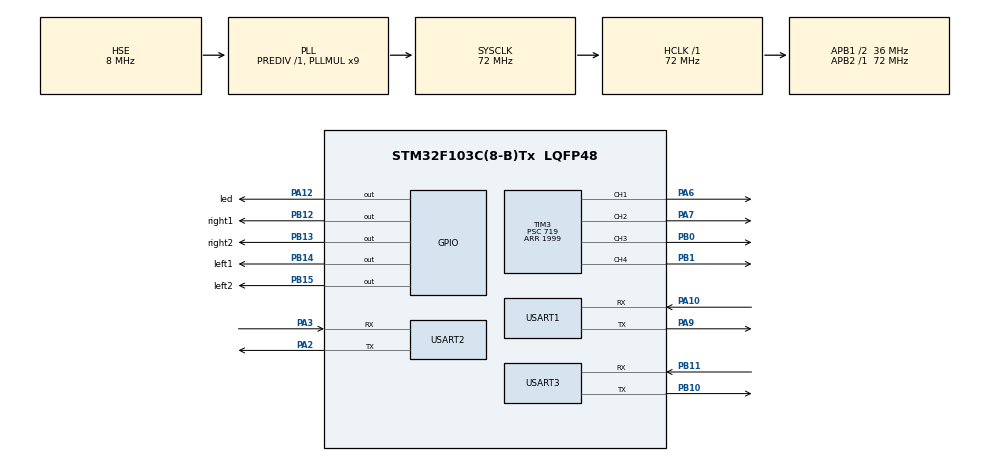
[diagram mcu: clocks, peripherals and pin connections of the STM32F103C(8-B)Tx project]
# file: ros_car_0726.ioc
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Dma.Request0=USART2_RX
Dma.Request1=USART1_RX
Dma.USART1_RX.1.Direction=DMA_PERIPH_TO_MEMORY
Dma.USART1_RX.1.Instance=DMA1_Channel5
Dma.USART1_RX.1.MemDataAlignment=DMA_MDATAALIGN_BYTE
Dma.USART1_RX.1.MemInc=DMA_MINC_ENABLE
Dma.USART1_RX.1.Mode=DMA_NORMAL
Dma.USART1_RX.1.PeriphDataAlignment=DMA_PDATAALIGN_BYTE
Dma.USART1_RX.1.PeriphInc=DMA_PINC_DISABLE
Dma.USART1_RX.1.Priority=DMA_PRIORITY_LOW
Dma.USART2_RX.0.Direction=DMA_PERIPH_TO_MEMORY
Dma.USART2_RX.0.Instance=DMA1_Channel6
Dma.USART2_RX.0.MemDataAlignment=DMA_MDATAALIGN_BYTE
Dma.USART2_RX.0.MemInc=DMA_MINC_ENABLE
Dma.USART2_RX.0.Mode=DMA_NORMAL
Dma.USART2_RX.0.PeriphDataAlignment=DMA_PDATAALIGN_BYTE
Dma.USART2_RX.0.PeriphInc=DMA_PINC_DISABLE
Dma.USART2_RX.0.Priority=DMA_PRIORITY_LOW
Mcu.Family=STM32F1
Mcu.Name=STM32F103C(8-B)Tx
Mcu.Package=LQFP48
NVIC.DMA1_Channel5_IRQn=true\:0\:0\:false\:true\:true\:5\:false
NVIC.DMA1_Channel6_IRQn=true\:0\:0\:false\:true\:true\:4\:false
NVIC.PriorityGroup=NVIC_PRIORITYGROUP_4
NVIC.TIM1_UP_IRQn=true\:0\:0\:false\:false\:true\:true
NVIC.TIM2_IRQn=true\:0\:0\:false\:false\:true\:true
NVIC.USART1_IRQn=true\:0\:0\:false\:true\:true\:1\:true
NVIC.USART2_IRQn=true\:0\:0\:false\:true\:true\:2\:true
NVIC.USART3_IRQn=true\:0\:0\:false\:true\:true\:3\:true
PA10.Mode=Asynchronous
PA10.Signal=USART1_RX
PA12.GPIO_Label=led
PA12.Signal=GPIO_Output
PA13.Mode=Serial_Wire
PA13.Signal=SYS_JTMS-SWDIO
PA14.Mode=Serial_Wire
PA14.Signal=SYS_JTCK-SWCLK
PA2.Mode=Asynchronous
PA2.Signal=USART2_TX
PA3.Mode=Asynchronous
PA3.Signal=USART2_RX
PA6.Signal=S_TIM3_CH1
PA7.Signal=S_TIM3_CH2
PA9.Mode=Asynchronous
PA9.Signal=USART1_TX
PB0.Signal=S_TIM3_CH3
PB1.Signal=S_TIM3_CH4
PB10.Mode=Asynchronous
PB10.Signal=USART3_TX
PB11.Mode=Asynchronous
PB11.Signal=USART3_RX
PB12.GPIO_Label=right1
PB12.Signal=GPIO_Output
PB13.GPIO_Label=right2
PB13.Signal=GPIO_Output
PB14.GPIO_Label=left1
PB14.Signal=GPIO_Output
PB15.GPIO_Label=left2
PB15.Signal=GPIO_Output
PD0-OSC_IN.Mode=HSE-External-Oscillator
PD0-OSC_IN.Signal=RCC_OSC_IN
PD1-OSC_OUT.Mode=HSE-External-Oscillator
PD1-OSC_OUT.Signal=RCC_OSC_OUT
ProjectManager.HeapSize=0x200
ProjectManager.StackSize=0x400
ProjectManager.TargetToolchain=MDK-ARM V5
RCC.AHBFreq_Value=72000000
RCC.APB1CLKDivider=RCC_HCLK_DIV2
RCC.APB1Freq_Value=36000000
RCC.APB1TimFreq_Value=72000000
RCC.APB2Freq_Value=72000000
RCC.APB2TimFreq_Value=72000000
RCC.HCLKFreq_Value=72000000
RCC.PLLMUL=RCC_PLL_MUL9
RCC.PLLSourceVirtual=RCC_PLLSOURCE_HSE
RCC.SYSCLKFreq_VALUE=72000000
RCC.SYSCLKSource=RCC_SYSCLKSOURCE_PLLCLK
RCC.USBFreq_Value=72000000
SH.S_TIM3_CH1.0=TIM3_CH1,PWM Generation1 CH1
SH.S_TIM3_CH2.0=TIM3_CH2,PWM Generation2 CH2
SH.S_TIM3_CH3.0=TIM3_CH3,PWM Generation3 CH3
SH.S_TIM3_CH4.0=TIM3_CH4,PWM Generation4 CH4
TIM1.Period=1000-1
TIM1.Prescaler=36000-1
TIM2.Period=500
TIM2.Prescaler=7200-1
TIM3.AutoReloadPreload=TIM_AUTORELOAD_PRELOAD_ENABLE
TIM3.Channel-PWM\ Generation1\ CH1=TIM_CHANNEL_1
TIM3.Channel-PWM\ Generation2\ CH2=TIM_CHANNEL_2
TIM3.Channel-PWM\ Generation3\ CH3=TIM_CHANNEL_3
TIM3.Channel-PWM\ Generation4\ CH4=TIM_CHANNEL_4
TIM3.Period=1999
TIM3.Prescaler=719
TIM3.Pulse-PWM\ Generation1\ CH1=150
TIM3.Pulse-PWM\ Generation2\ CH2=150
TIM3.Pulse-PWM\ Generation3\ CH3=150
TIM3.Pulse-PWM\ Generation4\ CH4=150
USART1.VirtualMode=VM_ASYNC
USART2.VirtualMode=VM_ASYNC
USART3.VirtualMode=VM_ASYNC
VP_TIM1_VS_ClockSourceINT.Mode=Internal
VP_TIM2_VS_ClockSourceINT.Mode=Internal
board=custom

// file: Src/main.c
/**
  ******************************************************************************
  * @file           : main.c
  * @brief          : Main program body
  ******************************************************************************
  ** This notice applies to any and all portions of this file
  * that are not between comment pairs USER CODE BEGIN and
  * USER CODE END. Other portions of this file, whether
  * inserted by the user or by software development tools
  * are owned by their respective copyright owners.
  *
  * COPYRIGHT(c) 2018 STMicroelectronics
  *
  * Redistribution and use in source and binary forms, with or without modification,
  * are permitted provided that the following conditions are met:
  *   1. Redistributions of source code must retain the above copyright notice,
  *      this list of conditions and the following disclaimer.
  *   2. Redistributions in binary form must reproduce the above copyright notice,
  *      this list of conditions and the following disclaimer in the documentation
  *      and/or other materials provided with the distribution.
  *   3. Neither the name of STMicroelectronics nor the names of its contributors
  *      may be used to endorse or promote products derived from this software
  *      without specific prior written permission.
  *
  * THIS SOFTWARE IS PROVIDED BY THE COPYRIGHT HOLDERS AND CONTRIBUTORS "AS IS"
  * AND ANY EXPRESS OR IMPLIED WARRANTIES, INCLUDING, BUT NOT LIMITED TO, THE
  * IMPLIED WARRANTIES OF MERCHANTABILITY AND FITNESS FOR A PARTICULAR PURPOSE ARE
  * DISCLAIMED. IN NO EVENT SHALL THE COPYRIGHT HOLDER OR CONTRIBUTORS BE LIABLE
  * FOR ANY DIRECT, INDIRECT, INCIDENTAL, SPECIAL, EXEMPLARY, OR CONSEQUENTIAL
  * DAMAGES (INCLUDING, BUT NOT LIMITED TO, PROCUREMENT OF SUBSTITUTE GOODS OR
  * SERVICES; LOSS OF USE, DATA, OR PROFITS; OR BUSINESS INTERRUPTION) HOWEVER
  * CAUSED AND ON ANY THEORY OF LIABILITY, WHETHER IN CONTRACT, STRICT LIABILITY,
  * OR TORT (INCLUDING NEGLIGENCE OR OTHERWISE) ARISING IN ANY WAY OUT OF THE USE
  * OF THIS SOFTWARE, EVEN IF ADVISED OF THE POSSIBILITY OF SUCH DAMAGE.
  *
  ******************************************************************************
  */
#include "main.h"
#include "stm32f1xx_hal.h"
#include "encoder.h"
#include "motor.h"
//#include "pid.h"
#include "odometry.h"
#include "stm32f1xx_it.h"
#include "contact.h"

TIM_HandleTypeDef htim1;
TIM_HandleTypeDef htim2;
TIM_HandleTypeDef htim3;

UART_HandleTypeDef huart1;
UART_HandleTypeDef huart2;
UART_HandleTypeDef huart3;

DMA_HandleTypeDef hdma_usart1_rx;
DMA_HandleTypeDef hdma_usart2_rx;

/* USER CODE BEGIN PV */
/* Private variables ---------------------------------------------------------*/
int car_speed=10;//0-48

#define BUFFERSIZE_right 20
uint8_t ReceiveBuff_right[BUFFERSIZE_right];						//接收缓冲区
uint8_t recv_end_flag_right = 0,Rx_len_right=0;	//接收完成中断，接收到字符长度

#define BUFFERSIZE_left 20
uint8_t ReceiveBuff_left[BUFFERSIZE_left];						//接收缓冲区
uint8_t recv_end_flag_left = 0,Rx_len_left=0;	//接收完成中断，接收到字符长度

uint8_t aTxStartMessages[] ="?s\r\n";

int speed_right;
int speed_left;

/***********************************************  输出  *****************************************************************/

char odometry_data[21]={0};   //发送给串口的里程计数据数组

/***********************************************  输入  *****************************************************************/

extern float position_x,position_y,oriention,velocity_linear,velocity_angular;         //计算得到的里程计数值

extern uint8_t USART_RX_BUF[USART_REC_LEN];     //串口接收缓冲,最大USART_REC_LEN个字节.
extern uint16_t USART_RX_STA;                   //串口接收状态标记
extern float line_number;

#define BUFFERSIZE 20
uint8_t ReceiveBuff[BUFFERSIZE];
uint8_t recv_end_flag = 0,Rx_len;

float Milemeter_L_Motor,Milemeter_R_Motor;  //dt时间内的左右轮速度,用于里程计计算

/***********************************************  变量  *****************************************************************/

uint8_t main_sta=0; //用作处理主函数各种if，去掉多余的flag（1打印里程计）（2调用计算里程计数据函数）（3串口接收成功）（4串口接收失败）

extern union recieveData  //接收到的数据
{
	float d;    //左右轮速度
	unsigned char data[4];
}leftdata,rightdata;       //接收的左右轮数据

union odometry  //里程计数据共用体
{
	float odoemtry_float;
	unsigned char odometry_char[4];
}x_data,y_data,theta_data,vel_linear,vel_angular;     //要发布的里程计数据，分别为：X，Y方向移动的距离，当前角度，线速度，角速度

/****************************************************************************************************************/

/* USER CODE END PV */

void SystemClock_Config(void);
static void MX_GPIO_Init(void);
static void MX_DMA_Init(void);
static void MX_TIM3_Init(void);
static void MX_USART1_UART_Init(void);
static void MX_USART2_UART_Init(void);
static void MX_USART3_UART_Init(void);
static void MX_TIM1_Init(void);
static void MX_TIM2_Init(void);
static void MX_NVIC_Init(void);

void HAL_TIM_MspPostInit(TIM_HandleTypeDef *htim);

/* USER CODE BEGIN PFP */
/* Private function prototypes -----------------------------------------------*/
void uartdamget_right(void);
void uartdamget_left(void);
/*//printf 打印数据的时候用到
#ifdef __GNUC__
#define PUTCHAR_PROTOTYPE int __io_putchar(int ch)
#else
#define PUTCHAR_PROTOTYPE int fputc(int ch, FILE *f)
#endif
PUTCHAR_PROTOTYPE
{
	HAL_UART_Transmit(&huart2 , (uint8_t *)&ch, 1, 0xFFFF);
return ch;
}*/

/* USER CODE END PFP */

int main(void)
 {

  /* MCU Configuration----------------------------------------------------------*/

  /* Reset of all peripherals, Initializes the Flash interface and the Systick. */
  HAL_Init();

  /* Configure the system clock */
  SystemClock_Config();

  /* USER CODE BEGIN SysInit */

	uint8_t j=0;
  /* USER CODE END SysInit */

  /* Initialize all configured peripherals */
  MX_GPIO_Init();
  MX_DMA_Init();
  MX_TIM3_Init();
  MX_USART1_UART_Init();
  MX_USART2_UART_Init();
  MX_USART3_UART_Init();
  MX_TIM1_Init();
  MX_TIM2_Init();

  /* Initialize interrupts */
  MX_NVIC_Init();
  /* USER CODE BEGIN 2 */

	/*timer*/
	HAL_TIM_Base_Start_IT(&htim1);//编码器
	HAL_TIM_Base_Start_IT(&htim2);//发布里程计

	/*DMA*/

	__HAL_UART_ENABLE_IT(&huart1, UART_IT_IDLE); //dma,空闲中断
	__HAL_UART_ENABLE_IT(&huart2, UART_IT_IDLE);  //dma,空闲中断

	/*pwm*/
  HAL_TIM_PWM_Start(&htim3,TIM_CHANNEL_1);//需自己定义，否则电机不动
  HAL_TIM_PWM_Start(&htim3,TIM_CHANNEL_2);
  HAL_TIM_PWM_Start(&htim3,TIM_CHANNEL_3);
  HAL_TIM_PWM_Start(&htim3,TIM_CHANNEL_4);
  /* USER CODE END 2 */

  /* Infinite loop */
  /* USER CODE BEGIN WHILE */
  while (1)
  {

	uartdamget_right();//接收编码器数据
	uartdamget_left();

		if(main_sta&0x01)
		{

 		  x_data.odoemtry_float=position_x;
			y_data.odoemtry_float=position_y;
			theta_data.odoemtry_float=oriention;
			vel_linear.odoemtry_float=velocity_linear;
			vel_angular.odoemtry_float=velocity_angular;

		for(j=0;j<4;j++)
			{
				odometry_data[j]=x_data.odometry_char[j];
				odometry_data[j+4]=y_data.odometry_char[j];
				odometry_data[j+8]=theta_data.odometry_char[j];
				odometry_data[j+12]=vel_linear.odometry_char[j];
				odometry_data[j+16]=vel_angular.odometry_char[j];
			}

			odometry_data[20]='\n';
			HAL_UART_Transmit_IT(&huart3 ,(uint8_t*)odometry_data,sizeof(odometry_data));
			main_sta=0x00;
		}
			if(main_sta&0x02)//执行计算里程计数据步骤
		{
			odometry(Milemeter_R_Motor,Milemeter_L_Motor);//计算里程计

			main_sta=0x00;
		}

   car_control(rightdata.d,leftdata.d);	 //将接收到的左右轮速度赋给小车

  /* USER CODE END WHILE */

  }

}

void SystemClock_Config(void)
{

  RCC_OscInitTypeDef RCC_OscInitStruct;
  RCC_ClkInitTypeDef RCC_ClkInitStruct;

    /**Initializes the CPU, AHB and APB busses clocks
    */
  RCC_OscInitStruct.OscillatorType = RCC_OSCILLATORTYPE_HSE;
  RCC_OscInitStruct.HSEState = RCC_HSE_ON;
  RCC_OscInitStruct.HSEPredivValue = RCC_HSE_PREDIV_DIV1;
  RCC_OscInitStruct.HSIState = RCC_HSI_ON;
  RCC_OscInitStruct.PLL.PLLState = RCC_PLL_ON;
  RCC_OscInitStruct.PLL.PLLSource = RCC_PLLSOURCE_HSE;
  RCC_OscInitStruct.PLL.PLLMUL = RCC_PLL_MUL9;
  if (HAL_RCC_OscConfig(&RCC_OscInitStruct) != HAL_OK)
  {
    _Error_Handler(__FILE__, __LINE__);
  }

    /**Initializes the CPU, AHB and APB busses clocks
    */
  RCC_ClkInitStruct.ClockType = RCC_CLOCKTYPE_HCLK|RCC_CLOCKTYPE_SYSCLK
                              |RCC_CLOCKTYPE_PCLK1|RCC_CLOCKTYPE_PCLK2;
  RCC_ClkInitStruct.SYSCLKSource = RCC_SYSCLKSOURCE_PLLCLK;
  RCC_ClkInitStruct.AHBCLKDivider = RCC_SYSCLK_DIV1;
  RCC_ClkInitStruct.APB1CLKDivider = RCC_HCLK_DIV2;
  RCC_ClkInitStruct.APB2CLKDivider = RCC_HCLK_DIV1;

  if (HAL_RCC_ClockConfig(&RCC_ClkInitStruct, FLASH_LATENCY_2) != HAL_OK)
  {
    _Error_Handler(__FILE__, __LINE__);
  }

    /**Configure the Systick interrupt time
    */
  HAL_SYSTICK_Config(HAL_RCC_GetHCLKFreq()/1000);

    /**Configure the Systick
    */
  HAL_SYSTICK_CLKSourceConfig(SYSTICK_CLKSOURCE_HCLK);

  /* SysTick_IRQn interrupt configuration */
  HAL_NVIC_SetPriority(SysTick_IRQn, 0, 0);
}

/**
  * @brief NVIC Configuration.
  * @retval None
  */
static void MX_NVIC_Init(void)
{
  /* USART1_IRQn interrupt configuration */
  HAL_NVIC_SetPriority(USART1_IRQn, 0, 0);
  HAL_NVIC_EnableIRQ(USART1_IRQn);
  /* USART2_IRQn interrupt configuration */
  HAL_NVIC_SetPriority(USART2_IRQn, 0, 0);
  HAL_NVIC_EnableIRQ(USART2_IRQn);
  /* USART3_IRQn interrupt configuration */
  HAL_NVIC_SetPriority(USART3_IRQn, 0, 0);
  HAL_NVIC_EnableIRQ(USART3_IRQn);
  /* DMA1_Channel6_IRQn interrupt configuration */
  HAL_NVIC_SetPriority(DMA1_Channel6_IRQn, 0, 0);
  HAL_NVIC_EnableIRQ(DMA1_Channel6_IRQn);
  /* DMA1_Channel5_IRQn interrupt configuration */
  HAL_NVIC_SetPriority(DMA1_Channel5_IRQn, 0, 0);
  HAL_NVIC_EnableIRQ(DMA1_Channel5_IRQn);
}

/* TIM1 init function */
static void MX_TIM1_Init(void)//请求编码器数据
{

  TIM_ClockConfigTypeDef sClockSourceConfig;//500us
  TIM_MasterConfigTypeDef sMasterConfig;

  htim1.Instance = TIM1;
  htim1.Init.Prescaler = 36000-1;
  htim1.Init.CounterMode = TIM_COUNTERMODE_UP;
  htim1.Init.Period = 1000-1;
  htim1.Init.ClockDivision = TIM_CLOCKDIVISION_DIV1;
  htim1.Init.RepetitionCounter = 0;
  htim1.Init.AutoReloadPreload = TIM_AUTORELOAD_PRELOAD_DISABLE;
  if (HAL_TIM_Base_Init(&htim1) != HAL_OK)
  {
    _Error_Handler(__FILE__, __LINE__);
  }

  sClockSourceConfig.ClockSource = TIM_CLOCKSOURCE_INTERNAL;
  if (HAL_TIM_ConfigClockSource(&htim1, &sClockSourceConfig) != HAL_OK)
  {
    _Error_Handler(__FILE__, __LINE__);
  }

  sMasterConfig.MasterOutputTrigger = TIM_TRGO_RESET;
  sMasterConfig.MasterSlaveMode = TIM_MASTERSLAVEMODE_DISABLE;
  if (HAL_TIMEx_MasterConfigSynchronization(&htim1, &sMasterConfig) != HAL_OK)
  {
    _Error_Handler(__FILE__, __LINE__);
  }

}

/* TIM2 init function */
static void MX_TIM2_Init(void)//发布里程计信息 50ms
{

  TIM_ClockConfigTypeDef sClockSourceConfig;
  TIM_MasterConfigTypeDef sMasterConfig;

  htim2.Instance = TIM2;
  htim2.Init.Prescaler = 7200-1;
  htim2.Init.CounterMode = TIM_COUNTERMODE_UP;
  htim2.Init.Period = 3000;
  htim2.Init.ClockDivision = TIM_CLOCKDIVISION_DIV1;
  htim2.Init.AutoReloadPreload = TIM_AUTORELOAD_PRELOAD_DISABLE;
  if (HAL_TIM_Base_Init(&htim2) != HAL_OK)
  {
    _Error_Handler(__FILE__, __LINE__);
  }

  sClockSourceConfig.ClockSource = TIM_CLOCKSOURCE_INTERNAL;
  if (HAL_TIM_ConfigClockSource(&htim2, &sClockSourceConfig) != HAL_OK)
  {
    _Error_Handler(__FILE__, __LINE__);
  }

  sMasterConfig.MasterOutputTrigger = TIM_TRGO_RESET;
  sMasterConfig.MasterSlaveMode = TIM_MASTERSLAVEMODE_DISABLE;
  if (HAL_TIMEx_MasterConfigSynchronization(&htim2, &sMasterConfig) != HAL_OK)
  {
    _Error_Handler(__FILE__, __LINE__);
  }

}

/* TIM3 init function */
static void MX_TIM3_Init(void)//pwm
{

  TIM_MasterConfigTypeDef sMasterConfig;
  TIM_OC_InitTypeDef sConfigOC;

  htim3.Instance = TIM3;
  htim3.Init.Prescaler = 719;
  htim3.Init.CounterMode = TIM_COUNTERMODE_UP;
  htim3.Init.Period = 1999;
  htim3.Init.ClockDivision = TIM_CLOCKDIVISION_DIV1;
  htim3.Init.AutoReloadPreload = TIM_AUTORELOAD_PRELOAD_ENABLE;
  if (HAL_TIM_PWM_Init(&htim3) != HAL_OK)
  {
    _Error_Handler(__FILE__, __LINE__);
  }

  sMasterConfig.MasterOutputTrigger = TIM_TRGO_RESET;
  sMasterConfig.MasterSlaveMode = TIM_MASTERSLAVEMODE_DISABLE;
  if (HAL_TIMEx_MasterConfigSynchronization(&htim3, &sMasterConfig) != HAL_OK)
  {
    _Error_Handler(__FILE__, __LINE__);
  }

  sConfigOC.OCMode = TIM_OCMODE_PWM1;
  sConfigOC.Pulse = 150;
  sConfigOC.OCPolarity = TIM_OCPOLARITY_HIGH;
  sConfigOC.OCFastMode = TIM_OCFAST_DISABLE;
  if (HAL_TIM_PWM_ConfigChannel(&htim3, &sConfigOC, TIM_CHANNEL_1) != HAL_OK)
  {
    _Error_Handler(__FILE__, __LINE__);
  }

  if (HAL_TIM_PWM_ConfigChannel(&htim3, &sConfigOC, TIM_CHANNEL_2) != HAL_OK)
  {
    _Error_Handler(__FILE__, __LINE__);
  }

  if (HAL_TIM_PWM_ConfigChannel(&htim3, &sConfigOC, TIM_CHANNEL_3) != HAL_OK)
  {
    _Error_Handler(__FILE__, __LINE__);
  }

  if (HAL_TIM_PWM_ConfigChannel(&htim3, &sConfigOC, TIM_CHANNEL_4) != HAL_OK)
  {
    _Error_Handler(__FILE__, __LINE__);
  }

  HAL_TIM_MspPostInit(&htim3);

}

/* USART1 init function */
static void MX_USART1_UART_Init(void)
{

  huart1.Instance = USART1;
  huart1.Init.BaudRate = 115200;
  huart1.Init.WordLength = UART_WORDLENGTH_8B;
  huart1.Init.StopBits = UART_STOPBITS_1;
  huart1.Init.Parity = UART_PARITY_NONE;
  huart1.Init.Mode = UART_MODE_TX_RX;
  huart1.Init.HwFlowCtl = UART_HWCONTROL_NONE;
  huart1.Init.OverSampling = UART_OVERSAMPLING_16;
  if (HAL_UART_Init(&huart1) != HAL_OK)
  {
    _Error_Handler(__FILE__, __LINE__);
  }

}

/* USART2 init function */
static void MX_USART2_UART_Init(void)
{

  huart2.Instance = USART2;
  huart2.Init.BaudRate = 115200;
  huart2.Init.WordLength = UART_WORDLENGTH_8B;
  huart2.Init.StopBits = UART_STOPBITS_1;
  huart2.Init.Parity = UART_PARITY_NONE;
  huart2.Init.Mode = UART_MODE_TX_RX;
  huart2.Init.HwFlowCtl = UART_HWCONTROL_NONE;
  huart2.Init.OverSampling = UART_OVERSAMPLING_16;
  if (HAL_UART_Init(&huart2) != HAL_OK)
  {
    _Error_Handler(__FILE__, __LINE__);
  }

}

/* USART3 init function */
static void MX_USART3_UART_Init(void)
{

  huart3.Instance = USART3;
  huart3.Init.BaudRate = 115200;
  huart3.Init.WordLength = UART_WORDLENGTH_8B;
  huart3.Init.StopBits = UART_STOPBITS_1;
  huart3.Init.Parity = UART_PARITY_NONE;
  huart3.Init.Mode = UART_MODE_TX_RX;
  huart3.Init.HwFlowCtl = UART_HWCONTROL_NONE;
  huart3.Init.OverSampling = UART_OVERSAMPLING_16;
  if (HAL_UART_Init(&huart3) != HAL_OK)
  {
    _Error_Handler(__FILE__, __LINE__);
  }

}

static void MX_DMA_Init(void)
{
  /* DMA controller clock enable */
  __HAL_RCC_DMA1_CLK_ENABLE();

}

/** Configure pins as
        * Analog
        * Input
        * Output
        * EVENT_OUT
        * EXTI
*/
static void MX_GPIO_Init(void)
{

  GPIO_InitTypeDef GPIO_InitStruct;

  /* GPIO Ports Clock Enable */
  __HAL_RCC_GPIOD_CLK_ENABLE();
  __HAL_RCC_GPIOA_CLK_ENABLE();
  __HAL_RCC_GPIOB_CLK_ENABLE();

  /*Configure GPIO pin Output Level */
  HAL_GPIO_WritePin(GPIOB, right1_Pin|right2_Pin|left1_Pin|left2_Pin, GPIO_PIN_RESET);

  /*Configure GPIO pin Output Level */
  HAL_GPIO_WritePin(led_GPIO_Port, led_Pin, GPIO_PIN_RESET);

  /*Configure GPIO pins : right1_Pin right2_Pin left1_Pin left2_Pin */
  GPIO_InitStruct.Pin = right1_Pin|right2_Pin|left1_Pin|left2_Pin;
  GPIO_InitStruct.Mode = GPIO_MODE_OUTPUT_PP;
  GPIO_InitStruct.Pull = GPIO_NOPULL;
  GPIO_InitStruct.Speed = GPIO_SPEED_FREQ_LOW;
  HAL_GPIO_Init(GPIOB, &GPIO_InitStruct);

  /*Configure GPIO pin : led_Pin */
  GPIO_InitStruct.Pin = led_Pin;
  GPIO_InitStruct.Mode = GPIO_MODE_OUTPUT_PP;
  GPIO_InitStruct.Pull = GPIO_NOPULL;
  GPIO_InitStruct.Speed = GPIO_SPEED_FREQ_LOW;
  HAL_GPIO_Init(led_GPIO_Port, &GPIO_InitStruct);

}

/* USER CODE BEGIN 4 */
void uartdamget_right(void)//get right wheel speed
{

	if(recv_end_flag_right ==1)
	{
		speed_right=output_speed(ReceiveBuff_right,Rx_len_right);//rpm, r/min
		Milemeter_R_Motor=(speed_right*4*line_number)/(60*SPEED_SAMPLING_FREQ);

		/*	清空接收缓存区	*/
		for(int i = 0; i < Rx_len_right ; i++)
			{ReceiveBuff_right[i]=0;}
		Rx_len_right=0;
		recv_end_flag_right=0;
	}
	/*	开启下一次接收	*/
	HAL_UART_Receive_DMA(&huart1,(uint8_t*)ReceiveBuff_right,BUFFERSIZE_right);
}

void uartdamget_left(void)
{
	if(recv_end_flag_left ==1)
	{
		speed_left=output_speed(ReceiveBuff_left,Rx_len_left);//rpm, r/min
		Milemeter_L_Motor=(speed_left*4*line_number)/(60*SPEED_SAMPLING_FREQ);

		/*	清空接收缓存区	*/
		for(int i = 0; i < Rx_len_left ; i++)
			{ReceiveBuff_left[i]=0;}
		Rx_len_left=0;
		recv_end_flag_left=0;
	}

	HAL_UART_Receive_DMA(&huart2,(uint8_t*)ReceiveBuff_left,BUFFERSIZE_left);
}

void HAL_TIM_PeriodElapsedCallback(TIM_HandleTypeDef *htim)

{

    if (htim->Instance == htim1.Instance)//请求编码器数据
    {
		HAL_UART_Transmit_IT(&huart1 ,(uint8_t*)aTxStartMessages,sizeof(aTxStartMessages));
		HAL_UART_Transmit_IT(&huart2 ,(uint8_t*)aTxStartMessages,sizeof(aTxStartMessages));
		main_sta|=0x02;//执行计算里程计数据步骤
    }

		if (htim->Instance == htim2.Instance)//发送里程计
    {

       main_sta|=0x01;
			 HAL_GPIO_TogglePin(led_GPIO_Port,led_Pin);

    }

}

/* USER CODE END 4 */

void _Error_Handler(char *file, int line)
{
  while(1)
  {
  }
}

/************************ (C) COPYRIGHT STMicroelectronics *****END OF FILE****/
